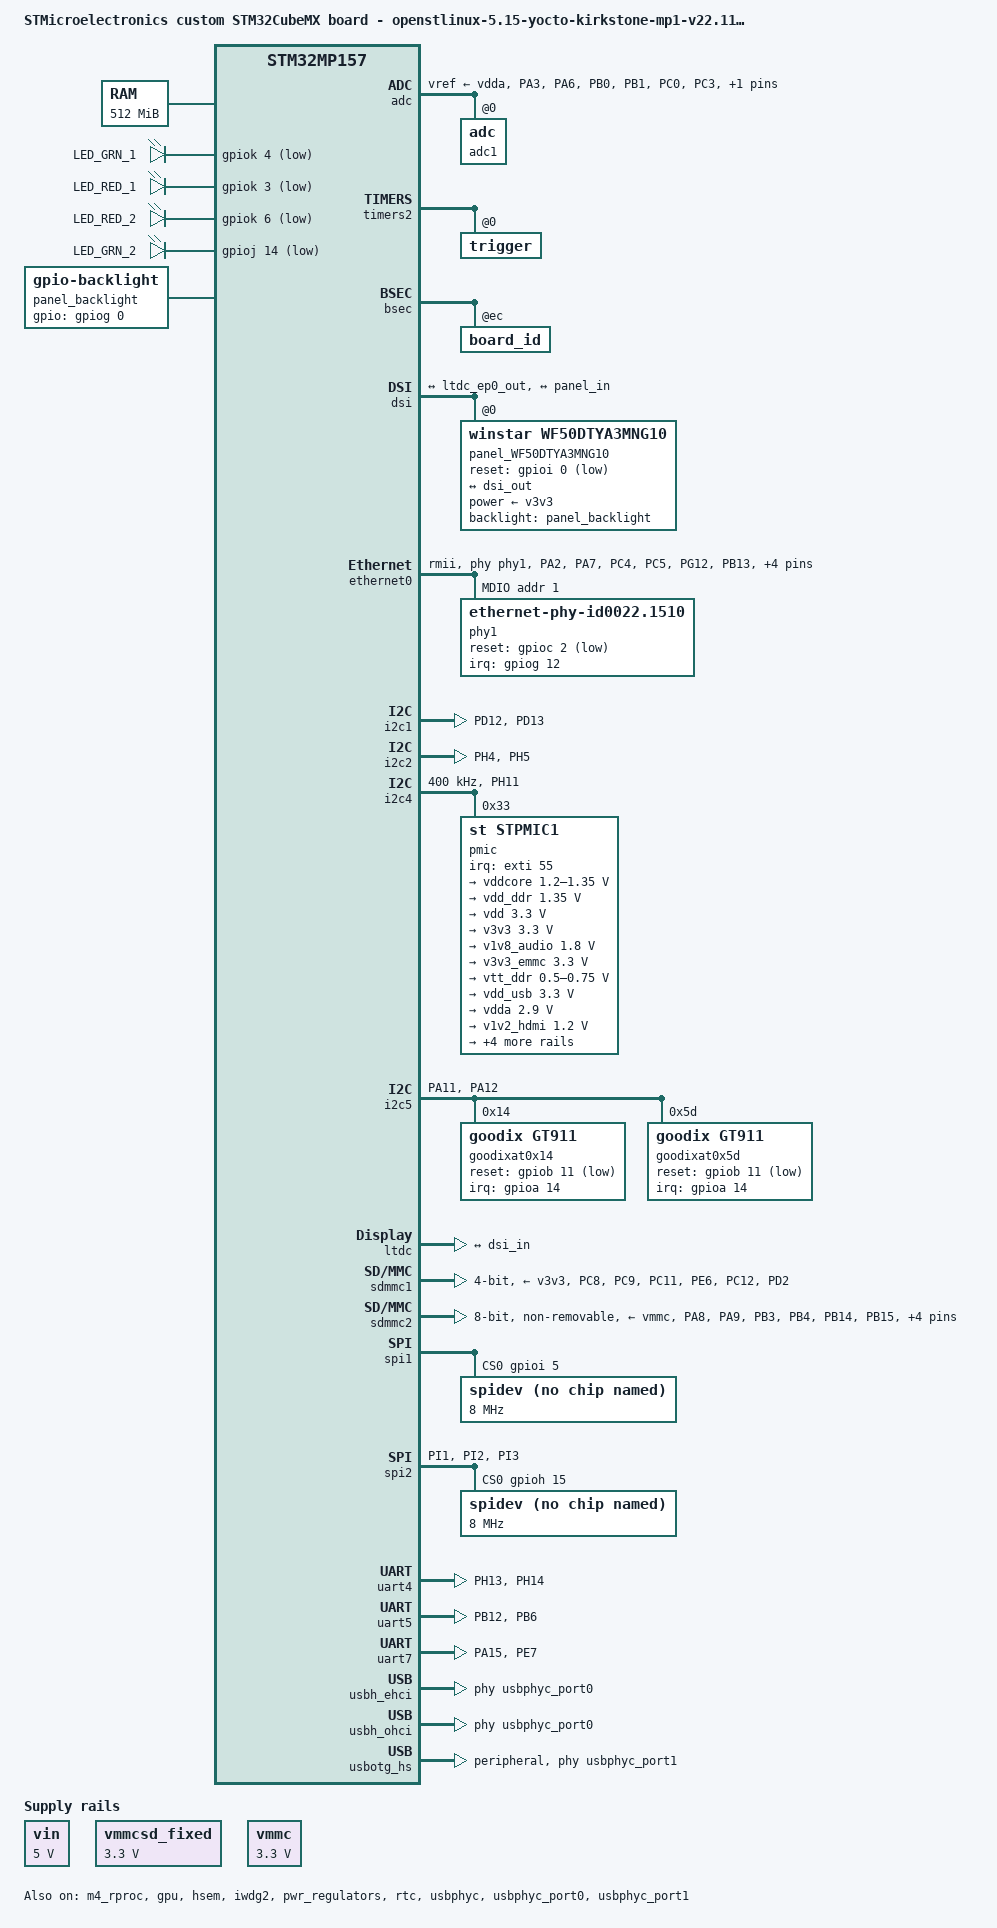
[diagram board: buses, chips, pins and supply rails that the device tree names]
/* SPDX-License-Identifier: (GPL-2.0+ OR BSD-3-Clause) */
/*
 * Copyright (C) STMicroelectronics 2023 - All Rights Reserved
 * Author: STM32CubeMX code generation for STMicroelectronics.
 */

/* For more information on Device Tree configuration, please refer to
 * https://wiki.st.com/stm32mpu/wiki/Category:Device_tree_configuration
 */

/dts-v1/;
#include <dt-bindings/pinctrl/stm32-pinfunc.h>

#include "stm32mp157.dtsi"
#include "stm32mp15xc.dtsi"
#include "stm32mp15xxaa-pinctrl.dtsi"
#include "stm32mp15-m4-srm.dtsi"

/* USER CODE BEGIN includes */
#include <dt-bindings/mfd/st,stpmic1.h>
#include <dt-bindings/rtc/rtc-stm32.h>
/* USER CODE END includes */

/ {
	model = "STMicroelectronics custom STM32CubeMX board - openstlinux-5.15-yocto-kirkstone-mp1-v22.11.23";
	compatible = "st,stm32mp157c-telemach-som-mx", "st,stm32mp157";

	memory@c0000000 {
		device_type = "memory";
		reg = <0xc0000000 0x20000000>;

		/* USER CODE BEGIN memory */
		/* USER CODE END memory */
	};

	reserved-memory {
		#address-cells = <1>;
		#size-cells = <1>;
		ranges;

		/* USER CODE BEGIN reserved-memory */
		mcuram2: mcuram2@10000000 {
			compatible = "shared-dma-pool";
			reg = <0x10000000 0x40000>;
			no-map;
		};

		vdev0vring0: vdev0vring0@10040000 {
			compatible = "shared-dma-pool";
			reg = <0x10040000 0x1000>;
			no-map;
		};

		vdev0vring1: vdev0vring1@10041000 {
			compatible = "shared-dma-pool";
			reg = <0x10041000 0x1000>;
			no-map;
		};

		vdev0buffer: vdev0buffer@10042000 {
			compatible = "shared-dma-pool";
			reg = <0x10042000 0x4000>;
			no-map;
		};

		mcu_rsc_table: mcu_rsc_table@10048000 {
			compatible = "shared-dma-pool";
			reg = <0x10048000 0x8000>;
			no-map;
		};

		mcuram: mcuram@30000000 {
			compatible = "shared-dma-pool";
			reg = <0x30000000 0x40000>;
			no-map;
		};

		retram: retram@38000000 {
			compatible = "shared-dma-pool";
			reg = <0x38000000 0x10000>;
			no-map;
		};

		gpu_reserved: gpu@d4000000 {
			reg = <0xd4000000 0x4000000>;
			no-map;
		};

		optee@de000000 {
			reg = <0xde000000 0x2000000>;
			no-map;
		};

		fb_reserved: fb@fd000000 {
			reg = <0xfd000000 0x8000000>;
			no-map;
		};
		/* USER CODE END reserved-memory */
	};

	/* USER CODE BEGIN root */
	led{
		compatible = "gpio-leds";

		led1_grn{
			label = "LED_GRN_1";
			gpios = <&gpiok 4 GPIO_ACTIVE_LOW>;
			linux,default-trigger = "heartbeat";
			status = "okay";
			default-state = "off";
		};

		led1_red{
			label = "LED_RED_1";
			gpios = <&gpiok 3 GPIO_ACTIVE_LOW>;
			linux,default-trigger = "cpu0";
			status = "okay";
			default-state = "off";
		};

		led2_red{
			label = "LED_RED_2";
			gpios = <&gpiok 6 GPIO_ACTIVE_LOW>;
			status = "okay";
			default-state = "off";
		};

		led2_grn{
			label = "LED_GRN_2";
			gpios = <&gpioj 14 GPIO_ACTIVE_LOW>;
			default-state = "off";
		};
	};

	panel_backlight: panel-backlight {
		compatible = "gpio-backlight";
		gpios = <&gpiog 0 GPIO_ACTIVE_HIGH>;
		default-on;
		status = "okay";
	};

	usb_phy_tuning:usb-phy-tuning{
		st,hs-dc-level = <2>;
		st,fs-rftime-tuning;
		st,hs-rftime-reduction;
		st,hs-current-trim = <15>;
		st,hs-impedance-trim = <1>;
		st,squelch-level = <3>;
		st,hs-rx-offset = <2>;
		st,no-lsfs-sc;
	};

	vin:vin{
		compatible = "regulator-fixed";
		regulator-name = "vin";
		regulator-min-microvolt = <5000000>;
		regulator-max-microvolt = <5000000>;
		regulator-always-on;
	};

	vmmcsd_fixed: fixedregulator@0 {
		compatible = "regulator-fixed";
		regulator-name = "vmmcsd_fixed";
		regulator-min-microvolt = <3300000>;
		regulator-max-microvolt = <3300000>;
		regulator-always-on;
	};

	vmmc: fixedregulator@1 {
		compatible = "regulator-fixed";
		regulator-name = "vmmc";
		regulator-min-microvolt = <3300000>;
		regulator-max-microvolt = <3300000>;
		startup-delay-us = <70000>;
		enable-active-high;
		regulator-always-on;
		};

	aliases{
		ethernet0 = &ethernet0;
		serial0 = &uart4;
		serial1 = &uart5;
		serial2 = &uart7;
		mmc0 = &sdmmc1;
		mmc1 = &sdmmc2;
	};

	chosen{
		#address-cells = <1>;
		#size-cells = <1>;
		ranges;
		stdout-path = "serial0:115200n8";
		framebuffer {
			compatible = "simple-framebuffer";
			clocks = <&rcc LTDC_PX>;
			status = "disabled";
		};
	};
	/* USER CODE END root */

	clocks {
		/* USER CODE BEGIN clocks */
		/* USER CODE END clocks */

	};

}; /*root*/

&pinctrl {

	adc_pins_mx: adc_mx-0 {
		pins {
			pinmux = <STM32_PINMUX('A', 3, ANALOG)>, /* ADC1_INP15 */
					 <STM32_PINMUX('A', 6, ANALOG)>, /* ADC1_INP3 */
					 <STM32_PINMUX('B', 0, ANALOG)>, /* ADC1_INP9 */
					 <STM32_PINMUX('B', 1, ANALOG)>, /* ADC1_INP5 */
					 <STM32_PINMUX('C', 0, ANALOG)>, /* ADC1_INP10 */
					 <STM32_PINMUX('C', 3, ANALOG)>, /* ADC1_INP13 */
					 <STM32_PINMUX('F', 12, ANALOG)>; /* ADC1_INP6 */
		};
	};

	adc_sleep_pins_mx: adc_sleep_mx-0 {
		pins {
			pinmux = <STM32_PINMUX('A', 3, ANALOG)>, /* ADC1_INP15 */
					 <STM32_PINMUX('A', 6, ANALOG)>, /* ADC1_INP3 */
					 <STM32_PINMUX('B', 0, ANALOG)>, /* ADC1_INP9 */
					 <STM32_PINMUX('B', 1, ANALOG)>, /* ADC1_INP5 */
					 <STM32_PINMUX('C', 0, ANALOG)>, /* ADC1_INP10 */
					 <STM32_PINMUX('C', 3, ANALOG)>, /* ADC1_INP13 */
					 <STM32_PINMUX('F', 12, ANALOG)>; /* ADC1_INP6 */
		};
	};

	eth1_pins_mx: eth1_mx-0 {
		pins1 {
			pinmux = <STM32_PINMUX('A', 2, AF11)>; /* ETH1_MDIO */
			bias-disable;
			drive-push-pull;
			slew-rate = <0>;
		};
		pins2 {
			pinmux = <STM32_PINMUX('A', 7, AF11)>, /* ETH1_CRS_DV */
					 <STM32_PINMUX('C', 4, AF11)>, /* ETH1_RXD0 */
					 <STM32_PINMUX('C', 5, AF11)>, /* ETH1_RXD1 */
					 <STM32_PINMUX('G', 12, AF11)>; /* ETH1_PHY_INTN */
			bias-disable;
		};
		pins3 {
			pinmux = <STM32_PINMUX('B', 13, AF11)>, /* ETH1_TXD1 */
					 <STM32_PINMUX('C', 1, AF11)>, /* ETH1_MDC */
					 <STM32_PINMUX('G', 8, AF2)>, /* ETH1_CLK */
					 <STM32_PINMUX('G', 11, AF11)>, /* ETH1_TX_EN */
					 <STM32_PINMUX('G', 13, AF11)>; /* ETH1_TXD0 */
			bias-disable;
			drive-push-pull;
			slew-rate = <1>;
		};
	};

	eth1_sleep_pins_mx: eth1_sleep_mx-0 {
		pins {
			pinmux = <STM32_PINMUX('A', 2, ANALOG)>, /* ETH1_MDIO */
					 <STM32_PINMUX('A', 7, ANALOG)>, /* ETH1_CRS_DV */
					 <STM32_PINMUX('B', 13, ANALOG)>, /* ETH1_TXD1 */
					 <STM32_PINMUX('C', 1, ANALOG)>, /* ETH1_MDC */
					 <STM32_PINMUX('C', 4, ANALOG)>, /* ETH1_RXD0 */
					 <STM32_PINMUX('C', 5, ANALOG)>, /* ETH1_RXD1 */
					 <STM32_PINMUX('G', 8, ANALOG)>, /* ETH1_CLK */
					 <STM32_PINMUX('G', 11, ANALOG)>, /* ETH1_TX_EN */
					 <STM32_PINMUX('G', 12, ANALOG)>, /* ETH1_PHY_INTN */
					 <STM32_PINMUX('G', 13, ANALOG)>; /* ETH1_TXD0 */
		};
	};

	i2c1_pins_mx: i2c1_mx-0 {
		pins {
			pinmux = <STM32_PINMUX('D', 12, AF5)>, /* I2C1_SCL */
					 <STM32_PINMUX('D', 13, AF5)>; /* I2C1_SDA */
			bias-pull-up;
			drive-open-drain;
			slew-rate = <0>;
		};
	};

	i2c1_sleep_pins_mx: i2c1_sleep_mx-0 {
		pins {
			pinmux = <STM32_PINMUX('D', 12, ANALOG)>, /* I2C1_SCL */
					 <STM32_PINMUX('D', 13, ANALOG)>; /* I2C1_SDA */
		};
	};

	i2c2_pins_mx: i2c2_mx-0 {
		pins {
			pinmux = <STM32_PINMUX('H', 4, AF4)>, /* I2C2_SCL */
					 <STM32_PINMUX('H', 5, AF4)>; /* I2C2_SDA */
			bias-pull-up;
			drive-open-drain;
			slew-rate = <0>;
		};
	};

	i2c2_sleep_pins_mx: i2c2_sleep_mx-0 {
		pins {
			pinmux = <STM32_PINMUX('H', 4, ANALOG)>, /* I2C2_SCL */
					 <STM32_PINMUX('H', 5, ANALOG)>; /* I2C2_SDA */
		};
	};

	i2c4_pins_mx: i2c4_mx-0 {
		pins {
			pinmux = <STM32_PINMUX('H', 11, AF4)>; /* I2C4_SCL */
			bias-pull-up;
			drive-open-drain;
			slew-rate = <0>;
		};
	};

	i2c4_sleep_pins_mx: i2c4_sleep_mx-0 {
		pins {
			pinmux = <STM32_PINMUX('H', 11, ANALOG)>; /* I2C4_SCL */
		};
	};

	i2c5_pins_mx: i2c5_mx-0 {
		pins {
			pinmux = <STM32_PINMUX('A', 11, AF4)>, /* I2C5_SCL */
					 <STM32_PINMUX('A', 12, AF4)>; /* I2C5_SDA */
			bias-pull-up;
			drive-open-drain;
			slew-rate = <0>;
		};
	};

	i2c5_sleep_pins_mx: i2c5_sleep_mx-0 {
		pins {
			pinmux = <STM32_PINMUX('A', 11, ANALOG)>, /* I2C5_SCL */
					 <STM32_PINMUX('A', 12, ANALOG)>; /* I2C5_SDA */
		};
	};

	sdmmc1_pins_mx: sdmmc1_mx-0 {
		pins1 {
			pinmux = <STM32_PINMUX('C', 8, AF12)>, /* SDMMC1_D0 */
					 <STM32_PINMUX('C', 9, AF12)>, /* SDMMC1_D1 */
					 <STM32_PINMUX('C', 11, AF12)>, /* SDMMC1_D3 */
					 <STM32_PINMUX('E', 6, AF8)>; /* SDMMC1_D2 */
			bias-pull-up;
			drive-push-pull;
			slew-rate = <1>;
		};
		pins2 {
			pinmux = <STM32_PINMUX('C', 12, AF12)>; /* SDMMC1_CK */
			bias-disable;
			drive-push-pull;
			slew-rate = <3>;
		};
		pins3 {
			pinmux = <STM32_PINMUX('D', 2, AF12)>; /* SDMMC1_CMD */
			bias-disable;
			drive-push-pull;
			slew-rate = <1>;
		};
	};

	sdmmc1_opendrain_pins_mx: sdmmc1_opendrain_mx-0 {
		pins1 {
			pinmux = <STM32_PINMUX('C', 8, AF12)>, /* SDMMC1_D0 */
					 <STM32_PINMUX('C', 9, AF12)>, /* SDMMC1_D1 */
					 <STM32_PINMUX('C', 11, AF12)>, /* SDMMC1_D3 */
					 <STM32_PINMUX('E', 6, AF8)>; /* SDMMC1_D2 */
			bias-pull-up;
			drive-push-pull;
			slew-rate = <1>;
		};
		pins2 {
			pinmux = <STM32_PINMUX('C', 12, AF12)>; /* SDMMC1_CK */
			bias-disable;
			drive-push-pull;
			slew-rate = <3>;
		};
		pins3 {
			pinmux = <STM32_PINMUX('D', 2, AF12)>; /* SDMMC1_CMD */
			bias-disable;
			drive-open-drain;
			slew-rate = <1>;
		};
	};

	sdmmc1_sleep_pins_mx: sdmmc1_sleep_mx-0 {
		pins {
			pinmux = <STM32_PINMUX('C', 8, ANALOG)>, /* SDMMC1_D0 */
					 <STM32_PINMUX('C', 9, ANALOG)>, /* SDMMC1_D1 */
					 <STM32_PINMUX('C', 11, ANALOG)>, /* SDMMC1_D3 */
					 <STM32_PINMUX('C', 12, ANALOG)>, /* SDMMC1_CK */
					 <STM32_PINMUX('D', 2, ANALOG)>, /* SDMMC1_CMD */
					 <STM32_PINMUX('E', 6, ANALOG)>; /* SDMMC1_D2 */
		};
	};

	sdmmc2_pins_mx: sdmmc2_mx-0 {
		pins1 {
			pinmux = <STM32_PINMUX('A', 8, AF9)>, /* SDMMC2_D4 */
					 <STM32_PINMUX('A', 9, AF10)>, /* SDMMC2_D5 */
					 <STM32_PINMUX('B', 3, AF9)>, /* SDMMC2_D2 */
					 <STM32_PINMUX('B', 4, AF9)>, /* SDMMC2_D3 */
					 <STM32_PINMUX('B', 14, AF9)>, /* SDMMC2_D0 */
					 <STM32_PINMUX('B', 15, AF9)>, /* SDMMC2_D1 */
					 <STM32_PINMUX('D', 3, AF9)>, /* SDMMC2_D7 */
					 <STM32_PINMUX('E', 5, AF9)>; /* SDMMC2_D6 */
			bias-pull-up;
			drive-push-pull;
			slew-rate = <1>;
		};
		pins2 {
			pinmux = <STM32_PINMUX('E', 3, AF9)>; /* SDMMC2_CK */
			bias-disable;
			drive-push-pull;
			slew-rate = <3>;
		};
		pins3 {
			pinmux = <STM32_PINMUX('G', 6, AF10)>; /* SDMMC2_CMD */
			bias-disable;
			drive-push-pull;
			slew-rate = <1>;
		};
	};

	sdmmc2_opendrain_pins_mx: sdmmc2_opendrain_mx-0 {
		pins1 {
			pinmux = <STM32_PINMUX('A', 8, AF9)>, /* SDMMC2_D4 */
					 <STM32_PINMUX('A', 9, AF10)>, /* SDMMC2_D5 */
					 <STM32_PINMUX('B', 3, AF9)>, /* SDMMC2_D2 */
					 <STM32_PINMUX('B', 4, AF9)>, /* SDMMC2_D3 */
					 <STM32_PINMUX('B', 14, AF9)>, /* SDMMC2_D0 */
					 <STM32_PINMUX('B', 15, AF9)>, /* SDMMC2_D1 */
					 <STM32_PINMUX('D', 3, AF9)>, /* SDMMC2_D7 */
					 <STM32_PINMUX('E', 5, AF9)>; /* SDMMC2_D6 */
			bias-pull-up;
			drive-push-pull;
			slew-rate = <1>;
		};
		pins2 {
			pinmux = <STM32_PINMUX('E', 3, AF9)>; /* SDMMC2_CK */
			bias-disable;
			drive-push-pull;
			slew-rate = <3>;
		};
		pins3 {
			pinmux = <STM32_PINMUX('G', 6, AF10)>; /* SDMMC2_CMD */
			bias-disable;
			drive-open-drain;
			slew-rate = <1>;
		};
	};

	sdmmc2_sleep_pins_mx: sdmmc2_sleep_mx-0 {
		pins {
			pinmux = <STM32_PINMUX('A', 8, ANALOG)>, /* SDMMC2_D4 */
					 <STM32_PINMUX('A', 9, ANALOG)>, /* SDMMC2_D5 */
					 <STM32_PINMUX('B', 3, ANALOG)>, /* SDMMC2_D2 */
					 <STM32_PINMUX('B', 4, ANALOG)>, /* SDMMC2_D3 */
					 <STM32_PINMUX('B', 14, ANALOG)>, /* SDMMC2_D0 */
					 <STM32_PINMUX('B', 15, ANALOG)>, /* SDMMC2_D1 */
					 <STM32_PINMUX('D', 3, ANALOG)>, /* SDMMC2_D7 */
					 <STM32_PINMUX('E', 3, ANALOG)>, /* SDMMC2_CK */
					 <STM32_PINMUX('E', 5, ANALOG)>, /* SDMMC2_D6 */
					 <STM32_PINMUX('G', 6, ANALOG)>; /* SDMMC2_CMD */
		};
	};

	spi2_pins_mx: spi2_mx-0 {
		pins {
			pinmux = <STM32_PINMUX('I', 1, AF5)>, /* SPI2_SCK */
					 <STM32_PINMUX('I', 2, AF5)>, /* SPI2_MISO */
					 <STM32_PINMUX('I', 3, AF5)>; /* SPI2_MOSI */
			bias-disable;
			drive-push-pull;
			slew-rate = <1>;
		};
	};

	spi2_sleep_pins_mx: spi2_sleep_mx-0 {
		pins {
			pinmux = <STM32_PINMUX('I', 1, ANALOG)>, /* SPI2_SCK */
					 <STM32_PINMUX('I', 2, ANALOG)>, /* SPI2_MISO */
					 <STM32_PINMUX('I', 3, ANALOG)>; /* SPI2_MOSI */
		};
	};

	uart4_pins_mx: uart4_mx-0 {
		pins1 {
			pinmux = <STM32_PINMUX('H', 13, AF8)>; /* UART4_TX */
			bias-disable;
			drive-push-pull;
			slew-rate = <0>;
		};
		pins2 {
			pinmux = <STM32_PINMUX('H', 14, AF8)>; /* UART4_RX */
			bias-disable;
		};
	};

	uart4_sleep_pins_mx: uart4_sleep_mx-0 {
		pins {
			pinmux = <STM32_PINMUX('H', 13, ANALOG)>, /* UART4_TX */
					 <STM32_PINMUX('H', 14, ANALOG)>; /* UART4_RX */
		};
	};

	uart5_pins_mx: uart5_mx-0 {
		pins1 {
			pinmux = <STM32_PINMUX('B', 12, AF14)>; /* UART5_RX */
			bias-disable;
		};
		pins2 {
			pinmux = <STM32_PINMUX('B', 6, AF12)>; /* UART5_TX */
			bias-disable;
			drive-push-pull;
			slew-rate = <0>;
		};
	};

	uart5_sleep_pins_mx: uart5_sleep_mx-0 {
		pins {
			pinmux = <STM32_PINMUX('B', 6, ANALOG)>, /* UART5_TX */
					 <STM32_PINMUX('B', 12, ANALOG)>; /* UART5_RX */
		};
	};

	uart7_pins_mx: uart7_mx-0 {
		pins1 {
			pinmux = <STM32_PINMUX('A', 15, AF13)>; /* UART7_TX */
			bias-disable;
			drive-push-pull;
			slew-rate = <0>;
		};
		pins2 {
			pinmux = <STM32_PINMUX('E', 7, AF7)>; /* UART7_RX */
			bias-disable;
		};
	};

	uart7_sleep_pins_mx: uart7_sleep_mx-0 {
		pins {
			pinmux = <STM32_PINMUX('A', 15, ANALOG)>, /* UART7_TX */
					 <STM32_PINMUX('E', 7, ANALOG)>; /* UART7_RX */
		};
	};

	/* USER CODE BEGIN pinctrl */
	/* USER CODE END pinctrl */
};

&pinctrl_z {

	i2c4_pins_z_mx: i2c4_mx-0 {
		pins {
			pinmux = <STM32_PINMUX('Z', 3, AF6)>; /* I2C4_SDA */
			bias-pull-up;
			drive-open-drain;
			slew-rate = <0>;
		};
	};

	i2c4_sleep_pins_z_mx: i2c4_sleep_mx-0 {
		pins {
			pinmux = <STM32_PINMUX('Z', 3, ANALOG)>; /* I2C4_SDA */
		};
	};

	spi1_pins_z_mx: spi1_mx-0 {
		pins {
			pinmux = <STM32_PINMUX('Z', 0, AF5)>, /* SPI1_SCK */
					 <STM32_PINMUX('Z', 1, AF5)>, /* SPI1_MISO */
					 <STM32_PINMUX('Z', 2, AF5)>; /* SPI1_MOSI */
			bias-disable;
			drive-push-pull;
			slew-rate = <1>;
		};
	};

	spi1_sleep_pins_z_mx: spi1_sleep_mx-0 {
		pins {
			pinmux = <STM32_PINMUX('Z', 0, ANALOG)>, /* SPI1_SCK */
					 <STM32_PINMUX('Z', 1, ANALOG)>, /* SPI1_MISO */
					 <STM32_PINMUX('Z', 2, ANALOG)>; /* SPI1_MOSI */
		};
	};

	/* USER CODE BEGIN pinctrl_z */
	/* USER CODE END pinctrl_z */
};

&m4_rproc{
	/*Restriction: "memory-region" property is not managed - please to use User-Section if needed*/
	mboxes = <&ipcc 0>, <&ipcc 1>, <&ipcc 2>;
	mbox-names = "vq0", "vq1", "shutdown";
	status = "okay";

	/* USER CODE BEGIN m4_rproc */
	memory-region = <&retram>, <&mcuram>, <&mcuram2>, <&vdev0vring0>,
                    <&vdev0vring1>, <&vdev0buffer>;
    mboxes = <&ipcc 0>, <&ipcc 1>, <&ipcc 2>;
    mbox-names = "vq0", "vq1", "shutdown";
    interrupt-parent = <&exti>;
    interrupts = <68 1>;
    wakeup-source;
	/* USER CODE END m4_rproc */

	m4_system_resources{
		status = "okay";

		/* USER CODE BEGIN m4_system_resources */
		/* USER CODE END m4_system_resources */
	};
};

&adc {
	/* ANA0, ANA1 are dedicated pins and don't need pinctrl: only in6. */
	pinctrl-names = "default", "sleep";
	pinctrl-0 = <&adc_pins_mx>;
	pinctrl-1 = <&adc_sleep_pins_mx>;
	vdd-supply = <&vdd>;
	vdda-supply = <&vdda>;
	vref-supply = <&vdda>;
	status = "okay";
	adc1: adc@0 {
		#address-cells = <1>;
		#size-cells = <0>;
		status = "okay";
		channel@0 {
			reg = <0>;
			/* 16.5 ck_cycles sampling time */
			st,min-sample-time-ns = <5000>;
		};
		channel@1 {
			reg = <1>;
			st,min-sample-time-ns = <5000>;
		};
		channel@3 {
			reg = <3>;
			st,min-sample-time-ns = <5000>;
		};
		channel@5 {
			reg = <5>;
			st,min-sample-time-ns = <5000>;
		};
		channel@6 {
			reg = <6>;
			st,min-sample-time-ns = <5000>;
		};
		channel@9 {
			reg = <9>;
			st,min-sample-time-ns = <5000>;
		};
		channel@10 {
			reg = <10>;
			st,min-sample-time-ns = <5000>;
		};
		channel@13 {
			reg = <13>;
			st,min-sample-time-ns = <5000>;
		};
		channel@15 {
			reg = <15>;
			st,min-sample-time-ns = <5000>;
		};
	};
};

&timers2{
	status = "okay";

	/* USER CODE BEGIN timers2 */

	trigger@0 {
		status = "okay";
	};

	/* USER CODE END timers2 */
};

&bsec{
	status = "okay";

	/* USER CODE BEGIN bsec */
	board_id: board_id@ec {
 		reg = <0xec 0x4>;
 		st,non-secure-otp;
 	};
	/* USER CODE END bsec */
};

&dma1{
	status = "okay";

	/* USER CODE BEGIN dma1 */

	/* USER CODE END dma1 */
};

&dma2{
	status = "disabled";

	/* USER CODE BEGIN dma2 */
	/* USER CODE END dma2 */
};

&dmamux1{
	status = "okay";

	dma-masters = <&dma1>;
	dma-channels = <8>;

	/* USER CODE BEGIN dmamux1 */
	/* USER CODE END dmamux1 */
};

&dsi{
	status = "okay";

	/* USER CODE BEGIN dsi */
	#address-cells = <1>;
	#size-cells = <0>;

	ports {
		#address-cells = <1>;
		#size-cells = <0>;

		port@0 {
			reg = <0>;
			dsi_in: endpoint {
				remote-endpoint = <&ltdc_ep0_out>;
			};
		};

		port@1 {
			reg = <1>;
			dsi_out: endpoint {
				remote-endpoint = <&panel_in>;
			};
		};
	};

	panel_WF50DTYA3MNG10: panel-WF50DTYA3MNG10@0 {
		compatible = "winstar,WF50DTYA3MNG10";
		reg = <0>;
		reset-gpios = <&gpioi 0 GPIO_ACTIVE_LOW>;
		power-supply = <&v3v3>;
		backlight = <&panel_backlight>;
		status = "okay";

		port {
			panel_in: endpoint {
				remote-endpoint = <&dsi_out>;
			};
		};
	};
	/* USER CODE END dsi */
};

&ethernet0{
	pinctrl-names = "default", "sleep";
	pinctrl-0 = <&eth1_pins_mx>;
	pinctrl-1 = <&eth1_sleep_pins_mx>;
	status = "okay";

	/* USER CODE BEGIN ethernet0 */
	phy-mode = "rmii";
	max-speed = <100>;
	phy-handle = <&phy1>;
	st,eth-ref-clk-sel;
	clock-names = "stmmaceth",
		"eth-ck",
		"mac-clk-tx",
		"mac-clk-rx",
		"ethstp";
	clocks = <&rcc ETHMAC>,
		<&rcc ETHCK_K>,
		<&rcc ETHTX>,
		<&rcc ETHRX>,
		<&rcc ETHSTP>;

	mdio0 {
		#address-cells = <1>;
		#size-cells = <0>;
		compatible = "snps,dwmac-mdio";
		phy1: ethernet-phy@1 {
			reg = <1>;
			compatible = "ethernet-phy-id0022.1510";
			clocks = <&rcc ETHCK_K>;
			clock-names = "rmii-ref";
			reset-gpios = <&gpioc 2 GPIO_ACTIVE_LOW>;
			interrupt-parent = <&gpiog>;
			interrupts = <12 IRQ_TYPE_EDGE_FALLING>; /* ETH_MDINT# */
			reset-delay-us = <10000>;
			post-reset-delay-us = <1000>;
		};
	};
	/* USER CODE END ethernet0 */
};

&gpu{
	status = "okay";

	/* USER CODE BEGIN gpu */
	/* USER CODE END gpu */
};

&hsem{
	status = "okay";

	/* USER CODE BEGIN hsem */
	/* USER CODE END hsem */
};

&i2c1{
	pinctrl-names = "default", "sleep";
	pinctrl-0 = <&i2c1_pins_mx>;
	pinctrl-1 = <&i2c1_sleep_pins_mx>;
	status = "okay";

	/* USER CODE BEGIN i2c1 */
	/* USER CODE END i2c1 */
};

&i2c2{
	pinctrl-names = "default", "sleep";
	pinctrl-0 = <&i2c2_pins_mx>;
	pinctrl-1 = <&i2c2_sleep_pins_mx>;
	status = "okay";

	/* USER CODE BEGIN i2c2 */
	/* USER CODE END i2c2 */
};

&i2c4{
	pinctrl-names = "default", "sleep";
	pinctrl-0 = <&i2c4_pins_mx &i2c4_pins_z_mx>;
	pinctrl-1 = <&i2c4_sleep_pins_mx &i2c4_sleep_pins_z_mx>;
	status = "okay";

	/* USER CODE BEGIN i2c4 */
		i2c-scl-rising-time-ns = <185>;
	i2c-scl-falling-time-ns = <20>;
	clock-frequency = <400000>;
	/delete-property/ dmas;
	/delete-property/ dma-names;

	pmic:stpmic@33{
		compatible = "st,stpmic1";
		reg = <0x33>;
		interrupts-extended = <&exti 55 IRQ_TYPE_EDGE_FALLING>;
		interrupt-controller;
		#interrupt-cells = <2>;
		status = "okay";

		regulators{
			compatible = "st,stpmic1-regulators";
			buck1-supply = <&vin>;
			buck2-supply = <&vin>;
			buck3-supply = <&vin>;
			buck4-supply = <&vin>;
			ldo1-supply = <&v3v3>;
			ldo2-supply = <&vin>;
			ldo3-supply = <&vdd_ddr>;
			ldo4-supply = <&vin>;
			ldo5-supply = <&vin>;
			ldo6-supply = <&v3v3>;
			vref_ddr-supply = <&vin>;
			boost-supply = <&vin>;
			pwr_sw1-supply = <&bst_out>;
			pwr_sw2-supply = <&bst_out>;

			vddcore:buck1{
				regulator-name = "vddcore";
				regulator-min-microvolt = <1200000>;
				regulator-max-microvolt = <1350000>;
				regulator-always-on;
				regulator-initial-mode = <0>;
				regulator-over-current-protection;
			};

			vdd_ddr:buck2{
				regulator-name = "vdd_ddr";
				regulator-min-microvolt = <1350000>;
				regulator-max-microvolt = <1350000>;
				regulator-always-on;
				regulator-initial-mode = <0>;
				regulator-over-current-protection;
			};

			vdd:buck3{
				regulator-name = "vdd";
				regulator-min-microvolt = <3300000>;
				regulator-max-microvolt = <3300000>;
				regulator-always-on;
				st,mask-reset;
				regulator-initial-mode = <0>;
				regulator-over-current-protection;
			};

			v3v3:buck4{
				regulator-name = "v3v3";
				regulator-min-microvolt = <3300000>;
				regulator-max-microvolt = <3300000>;
				regulator-always-on;
				regulator-over-current-protection;
				regulator-initial-mode = <0>;
			};

			v1v8_audio:ldo1{
				regulator-name = "v1v8_audio";
				regulator-min-microvolt = <1800000>;
				regulator-max-microvolt = <1800000>;
				regulator-always-on;
				interrupts = <IT_CURLIM_LDO1 0>;
			};

			v3v3_emmc:ldo2{
				regulator-name = "v3v3_emmc";
				regulator-min-microvolt = <3300000>;
				regulator-max-microvolt = <3300000>;
				regulator-always-on;
				interrupts = <IT_CURLIM_LDO2 0>;
			};

			vtt_ddr:ldo3{
				regulator-name = "vtt_ddr";
				regulator-min-microvolt = <500000>;
				regulator-max-microvolt = <750000>;
				regulator-always-on;
				regulator-over-current-protection;
			};

			vdd_usb:ldo4{
				regulator-name = "vdd_usb";
				regulator-min-microvolt = <3300000>;
				regulator-max-microvolt = <3300000>;
				interrupts = <IT_CURLIM_LDO4 0>;
				regulator-always-on;
			};

			vdda:ldo5{
				regulator-name = "vdda";
				regulator-min-microvolt = <2900000>;
				regulator-max-microvolt = <2900000>;
				interrupts = <IT_CURLIM_LDO5 0>;
				regulator-always-on;
			};

			v1v2_hdmi:ldo6{
				regulator-name = "v1v2_hdmi";
				regulator-min-microvolt = <1200000>;
				regulator-max-microvolt = <1200000>;
				regulator-always-on;
				interrupts = <IT_CURLIM_LDO6 0>;
			};

			vref_ddr:vref_ddr{
				regulator-name = "vref_ddr";
				regulator-always-on;
				regulator-over-current-protection;
			};

			bst_out:boost{
				regulator-name = "bst_out";
				interrupts = <IT_OCP_BOOST 0>;
			};

			vbus_otg:pwr_sw1{
				regulator-name = "vbus_otg";
				interrupts = <IT_OCP_OTG 0>;
			};

			vbus_sw:pwr_sw2{
				regulator-name = "vbus_sw";
				interrupts = <IT_OCP_SWOUT 0>;
				regulator-active-discharge = <1>;
			};
		};

		onkey{
			compatible = "st,stpmic1-onkey";
			interrupts = <IT_PONKEY_F 0>, <IT_PONKEY_R 0>;
			interrupt-names = "onkey-falling", "onkey-rising";
			power-off-time-sec = <10>;
			status = "okay";
		};

		watchdog {
			compatible = "st,stpmic1-wdt";
			status = "disabled";
		};
	};
	/* USER CODE END i2c4 */
};

&i2c5{
	pinctrl-names = "default", "sleep";
	pinctrl-0 = <&i2c5_pins_mx>;
	pinctrl-1 = <&i2c5_sleep_pins_mx>;
	status = "okay";

	/* USER CODE BEGIN i2c5 */
	/*touchscreen@38 {
		compatible = "focaltech,ft6236";
		reg = <0x38>;
		interrupts = <0 14>;
		interrupt-parent = <&gpioa>;
		interrupt-controller;
		touchscreen-size-x = <480>;
		touchscreen-size-y = <800>;
		panel = <&panel_WF50DTYA3MNG10>;
		vcc-supply = <&v3v3>;
		iovcc-supply = <&v3v3>;
		status = "okay";
	};*/
	goodixat0x14: gt911@14 {
		compatible = "goodix,gt911";
		reg = <0x14>;
		pinctrl-names = "default";
		/*pinctrl-0 = <&pinctrl_edt_ft5x06_mx>;*/
		interrupt-parent = <&gpioa>;
		interrupts = <14 IRQ_TYPE_EDGE_FALLING>;
		reset-gpios = <&gpiob 11 GPIO_ACTIVE_LOW>;
		touchscreen-size-x = <720>;
		touchscreen-size-y = <1280>;
	};

	goodixat0x5d: gt911@5d {
		compatible = "goodix,gt911";
		reg = <0x5d>;
		pinctrl-names = "default";
		/*pinctrl-0 = <&pinctrl_edt_ft5x06_mx>;*/
		interrupt-parent = <&gpioa>;
		interrupts = <14 IRQ_TYPE_EDGE_FALLING>;
		reset-gpios = <&gpiob 11 GPIO_ACTIVE_LOW>;
		touchscreen-size-x = <720>;
		touchscreen-size-y = <1280>;
	};
	/* USER CODE END i2c5 */
};

&ipcc{
	status = "okay";

	/* USER CODE BEGIN ipcc */
	/* USER CODE END ipcc */
};

&iwdg2{
	status = "okay";

	/* USER CODE BEGIN iwdg2 */
	timeout-sec = <32>;
	/* USER CODE END iwdg2 */
};

&ltdc{
	status = "okay";

	/* USER CODE BEGIN ltdc */
	port {
		#address-cells = <1>;
		#size-cells = <0>;

		ltdc_ep0_out: endpoint@0 {
			reg = <0>;
			remote-endpoint = <&dsi_in>;
		};
	};
	/* USER CODE END ltdc */
};

&m4_dma2{
	status = "okay";

	/* USER CODE BEGIN m4_dma2 */
	/* USER CODE END m4_dma2 */
};

&mdma1{
	status = "okay";

	/* USER CODE BEGIN mdma1 */
	/* USER CODE END mdma1 */
};

&pwr_regulators{
	status = "okay";

	/* USER CODE BEGIN pwr_regulators */
	/* USER CODE END pwr_regulators */
};

&rcc{
	status = "okay";

	/* USER CODE BEGIN rcc */
	/* USER CODE END rcc */
};

&rtc{
	status = "okay";

	/* USER CODE BEGIN rtc */
	st,lsco = <RTC_OUT1>;
	/* USER CODE END rtc */
};

&sdmmc1{
	pinctrl-names = "default", "opendrain", "sleep";
	pinctrl-0 = <&sdmmc1_pins_mx>;
	pinctrl-1 = <&sdmmc1_opendrain_pins_mx>;
	pinctrl-2 = <&sdmmc1_sleep_pins_mx>;
	status = "okay";

	/* USER CODE BEGIN sdmmc1 */
	broken-cd;
	disable-wp;
	st,neg-edge;
	bus-width = <4>;
	vmmc-supply = <&v3v3>;
	/* USER CODE END sdmmc1 */
};

&sdmmc2{
	pinctrl-names = "default", "opendrain", "sleep";
	pinctrl-0 = <&sdmmc2_pins_mx>;
	pinctrl-1 = <&sdmmc2_opendrain_pins_mx>;
	pinctrl-2 = <&sdmmc2_sleep_pins_mx>;
	status = "okay";

	/* USER CODE BEGIN sdmmc2 */
	non-removable;
	no-sd;
	no-sdio;
	st,neg-edge;
	bus-width = <8>;
	vmmc-supply = <&vmmc>;
    vqmmc-supply = <&vmmc>;
	mmc-ddr-3_3v;
	/* USER CODE END sdmmc2 */
};

&spi1{
	pinctrl-names = "default", "sleep";
	pinctrl-0 = <&spi1_pins_z_mx>;
	pinctrl-1 = <&spi1_sleep_pins_z_mx>;
	status = "okay";

	/* USER CODE BEGIN spi1 */
	cs-gpios = <&gpioi 5 0>;
    spidev@0{
        compatible = "rohm,dh2228fv";
        reg = <0>;
        spi-max-frequency = <8000000>;
    };
	/* USER CODE END spi1 */
};

&spi2{
	pinctrl-names = "default", "sleep";
	pinctrl-0 = <&spi2_pins_mx>;
	pinctrl-1 = <&spi2_sleep_pins_mx>;
	status = "okay";

	/* USER CODE BEGIN spi2 */
	cs-gpios = <&gpioh 15 0>;
    spidev@0{
        compatible = "rohm,dh2228fv";
        reg = <0>;
        spi-max-frequency = <8000000>;
    };
	/* USER CODE END spi2 */
};

&uart4{
	pinctrl-names = "default", "sleep";
	pinctrl-0 = <&uart4_pins_mx>;
	pinctrl-1 = <&uart4_sleep_pins_mx>;
	status = "okay";

	/* USER CODE BEGIN uart4 */
	/delete-property/dmas;
	/delete-property/dma-names;
	/* USER CODE END uart4 */
};

&uart5{
	pinctrl-names = "default", "sleep";
	pinctrl-0 = <&uart5_pins_mx>;
	pinctrl-1 = <&uart5_sleep_pins_mx>;
	status = "okay";

	/* USER CODE BEGIN uart5 */
	/delete-property/dmas;
	/delete-property/dma-names;
	/* USER CODE END uart5 */
};

&uart7{
	pinctrl-names = "default", "sleep";
	pinctrl-0 = <&uart7_pins_mx>;
	pinctrl-1 = <&uart7_sleep_pins_mx>;
	status = "okay";

	/* USER CODE BEGIN uart7 */
	/delete-property/dmas;
	/delete-property/dma-names;
	/* USER CODE END uart7 */
};

&usbh_ehci{
	status = "okay";

	/* USER CODE BEGIN usbh_ehci */
	phys = <&usbphyc_port0>;
	phy-names = "usb";
	/* USER CODE END usbh_ehci */
};

&usbh_ohci{
	status = "okay";

	/* USER CODE BEGIN usbh_ohci */
	phys = <&usbphyc_port0>;
	phy-names = "usb";
	/* USER CODE END usbh_ohci */
};

&usbotg_hs{
	status = "okay";

	/* USER CODE BEGIN usbotg_hs */
	phys = <&usbphyc_port1 0>;
	phy-names = "usb2-phy";
 	u-boot,force-b-session-valid;
 	dr_mode = "peripheral";
	/* USER CODE END usbotg_hs */
};

&usbphyc{
	status = "okay";

	/* USER CODE BEGIN usbphyc */
	/* USER CODE END usbphyc */
};

&usbphyc_port0{
	status = "okay";

	/* USER CODE BEGIN usbphyc_port0 */
	phy-supply = <&vdd_usb>;
	st,phy-tuning = <&usb_phy_tuning>;
	/* USER CODE END usbphyc_port0 */
};

&usbphyc_port1{
	status = "okay";

	/* USER CODE BEGIN usbphyc_port1 */
	phy-supply = <&vdd_usb>;
	st,phy-tuning = <&usb_phy_tuning>;
	/* USER CODE END usbphyc_port1 */
};

/* USER CODE BEGIN addons */

/* USER CODE END addons */

